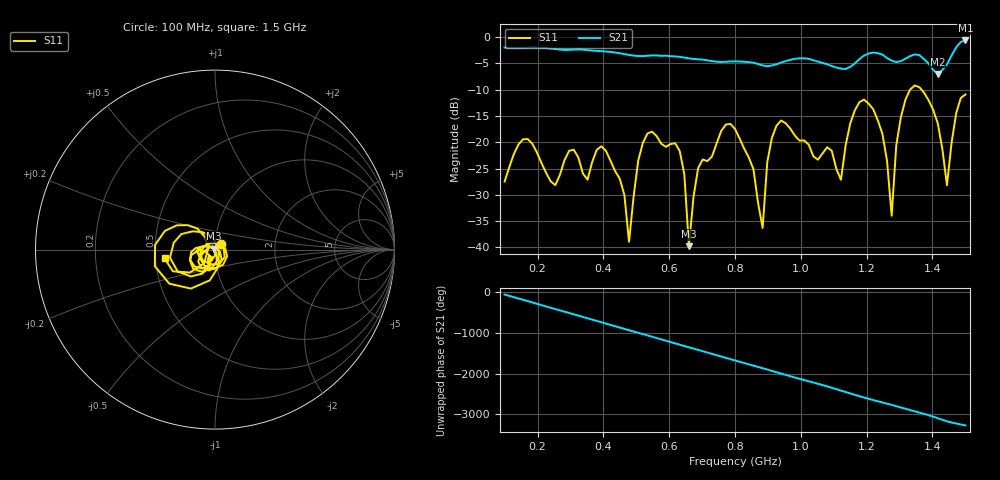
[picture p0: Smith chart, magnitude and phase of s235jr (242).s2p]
! NanoVNA-App
! Date: 2025-09-25 15:06:03
! Start: 100MHz Stop: 1,5GHz Points: 101
! S-Parameter data: F S11 S21 S12 S22
# Hz S RI R 50
!  Frequency  S11_Real  S11_Imag  S21_Real  S21_Imag  S12_Real  S12_Imag  S22_Real  S22_Imag
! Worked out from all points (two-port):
!   101 points, 100 MHz to 1.5 GHz, reference 50 ohm
!   highest |S21| = -0.62 dB at 1.5 GHz (marker M1); lowest = -7.0 dB at 1.416 GHz (marker M2)
!   |S21| within 3 dB of the highest: start of sweep to 603.8 MHz; 1.189 GHz to 1.255 GHz (65.12 MHz wide, 5.33 % of centre) (the widest 2 of 4)
!   lowest |S11| = -39.8 dB at 660 MHz (marker M3), VSWR 1.02, Z = 49.2 + j0.593 ohm
!   |S11| at or under -10 dB: start of sweep to 1.332 GHz; 1.367 GHz to end of sweep
!   S12 and S22 are empty: the file has one direction only
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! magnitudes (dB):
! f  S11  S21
! 100 MHz  -27.5  -2.0
! 156 MHz  -19.4  -2.0
! 338 MHz  -25.9  -2.4
! 408 MHz  -21.6  -2.7
! 478 MHz  -38.9  -3.4
! 520 MHz  -20.1  -3.6
! 576 MHz  -20.3  -3.5
! 632 MHz  -21.6  -3.7
! 660 MHz  -39.8  -4.0
! 688 MHz  -24.9  -4.2
! 800 MHz  -17.5  -4.6
! 884 MHz  -36.3  -5.4
! 926 MHz  -16.8  -5.1
! 1.038 GHz  -22.6  -4.4
! 1.122 GHz  -27.1  -6.0
! 1.192 GHz  -11.9  -3.5
! 1.248 GHz  -18.4  -3.3
! 1.276 GHz  -34.0  -4.4
! 1.332 GHz  -10.0  -3.6
! 1.416 GHz  -16.4  -7.0
! 1.444 GHz  -28.2  -5.2
! 1.5 GHz  -10.9  -0.6
